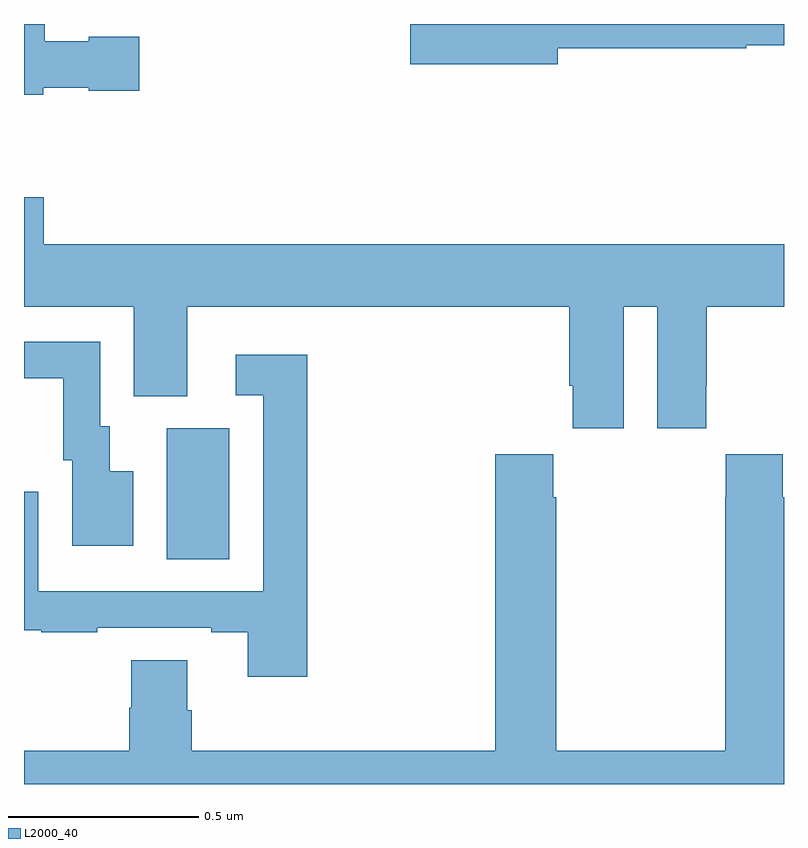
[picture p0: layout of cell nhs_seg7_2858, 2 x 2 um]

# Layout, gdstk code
import gdstk
lib = gdstk.Library(unit=1e-6, precision=1e-09)
def R(c, l, rs):  # rectangles x0, y0, x1, y1
    for r in rs: c.add(gdstk.rectangle(r[:2], r[2:], *l))
def P(c, l, *ps):  # polygons
    for p in ps: c.add(gdstk.Polygon(p, *l))
L2000_40 = (2000, 40)

nhs_seg7_2858 = lib.new_cell('nhs_seg7_2858')
R(nhs_seg7_2858, L2000_40, [(151.376,1026.592,151.54,1026.936)])
P(nhs_seg7_2858, L2000_40, [(151.05,1027.832),(151.17,1027.832),(151.17,1027.825),(151.303,1027.825),(151.303,1027.967),(151.17,1027.967),(151.17,1027.954),(151.054,1027.954),(151.054,1028),(151,1028),(151,1027.814),(151.05,1027.814)],
  [(152.404,1027.936),(152.9,1027.936),(152.9,1027.944),(153,1027.944),(153,1028),(152.016,1028),(152.016,1027.894),(152.404,1027.894)],
  [(152.578,1027.256),(152.666,1027.256),(152.666,1026.936),(152.796,1026.936),(152.796,1027.048),(152.797,1027.048),(152.797,1027.256),(153,1027.256),(153,1027.42),(151.052,1027.42),(151.052,1027.544),(151,1027.544),(151,1027.256),(151.289,1027.256),(151.289,1027.021),(151.429,1027.021),(151.429,1027.256),(152.435,1027.256),(152.435,1027.048),(152.444,1027.048),(152.444,1026.936),(152.578,1026.936)],
  [(151.288,1026.823),(151.225,1026.823),(151.225,1026.942),(151.2,1026.942),(151.2,1027.164),(151,1027.164),(151,1027.068),(151.103,1027.068),(151.103,1026.852),(151.127,1026.852),(151.127,1026.627),(151.288,1026.627)],
  [(151.745,1027.129),(151.557,1027.129),(151.557,1027.023),(151.629,1027.023),(151.629,1026.507),(151.038,1026.507),(151.038,1026.769),(151,1026.769),(151,1026.405),(151.045,1026.405),(151.045,1026.399),(151.193,1026.399),(151.193,1026.411),(151.493,1026.411),(151.493,1026.399),(151.589,1026.399),(151.589,1026.282),(151.745,1026.282)],
  [(153,1026.755),(152.997,1026.755),(152.997,1026.868),(152.847,1026.868),(152.847,1026.755),(152.845,1026.755),(152.845,1026.088),(152.4,1026.088),(152.4,1026.755),(152.393,1026.755),(152.393,1026.868),(152.24,1026.868),(152.24,1026.088),(151.442,1026.088),(151.442,1026.194),(151.429,1026.194),(151.429,1026.326),(151.282,1026.326),(151.282,1026.201),(151.277,1026.201),(151.277,1026.088),(151,1026.088),(151,1026),(153,1026)])

lib.write_gds('nhs_seg7_2858.gds')
